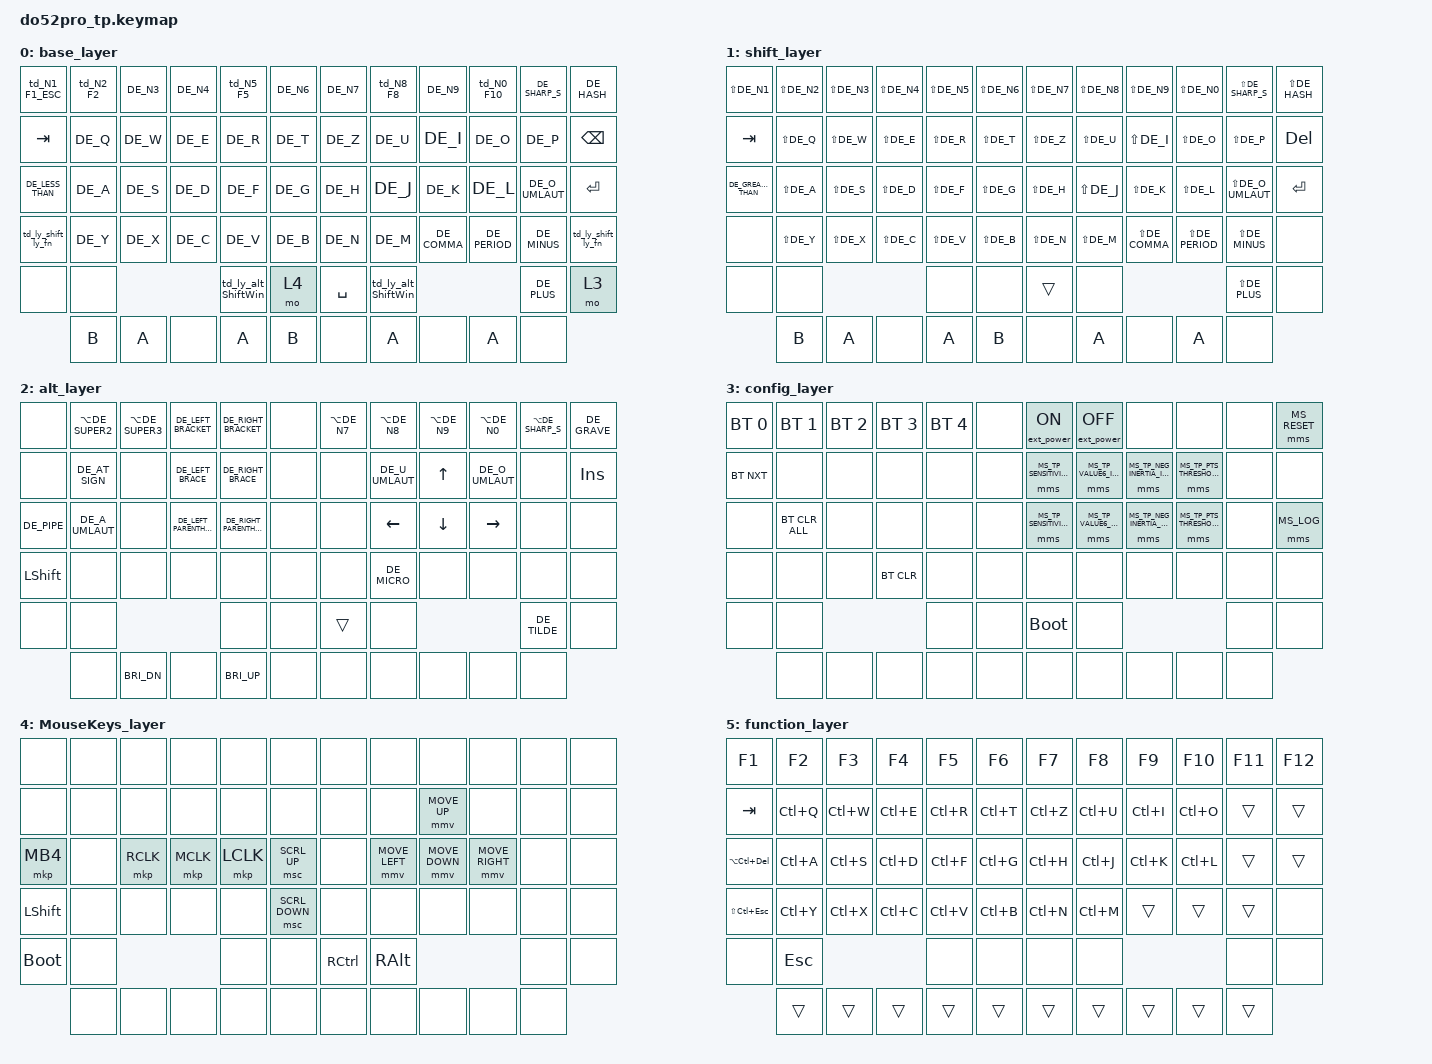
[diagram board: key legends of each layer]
#include <zephyr/dt-bindings/input/input-event-codes.h>

#define BASE 0
#define LOWER 1
#define UPPER 2
#define FUNC 3
#define CONF 4
#define MOUSE_KEYS 5
#define MOUSE_TP 6
#define MOUSE_TP_KEYS 7
#define MOUSE_TP_SET 8

#ifdef HAS_UROB

#define HAS_TRI_STATE
#define HAS_NUM_WORD

#endif

#define HAS_MOUSE_KEYS
#define HAS_MOUSE_TP
#define HAS_TRI_STATE

// ZMK includes
// Personal includes

#include "includes/mouse_keys.dtsi"
#include "includes/mouse_tp.dtsi"
#include "includes/mouse_tp_badjeff_input_listener.dtsi"
#include <dt-bindings/zmk/mouse.h>
#include "keys_de.h"
#include <behaviors.dtsi>
#include <dt-bindings/zmk/bt.h>
#include <dt-bindings/zmk/ext_power.h>
#include <dt-bindings/zmk/keys.h>

/ {
    behaviors {
        td_ly_alt_ShiftWin: td_ly_alt_ShiftWin {
            compatible = "zmk,behavior-tap-dance";
            label = "TD_LY_ALT_SHIFTWIN";
            #binding-cells = <0>;
            bindings = <&mo 2>, <&sk LS(LEFT_WIN)>;

            tapping-term-ms = <250>;
        };

        td_N5_F5: td_N5_F5 {
            compatible = "zmk,behavior-tap-dance";
            label = "TD_N5_F5";
            #binding-cells = <0>;
            bindings = <&kp DE_N5>, <&kp F5>;

            tapping-term-ms = <250>;
        };

        td_N1_F1_ESC: td_N1_F1_ESC {
            compatible = "zmk,behavior-tap-dance";
            label = "TD_N1_F1_ESC";
            #binding-cells = <0>;
            bindings = <&kp DE_N1>, <&kp F1>, <&kp ESCAPE>;

            tapping-term-ms = <250>;
        };

        td_N2_F2: td_N2_F2 {
            compatible = "zmk,behavior-tap-dance";
            label = "TD_N2_F2";
            #binding-cells = <0>;
            bindings = <&kp DE_N2>, <&kp F2>;

            tapping-term-ms = <250>;
        };

        td_N8_F8: td_N8_F8 {
            compatible = "zmk,behavior-tap-dance";
            label = "TD_N8_F8";
            #binding-cells = <0>;
            bindings = <&kp DE_N8>, <&kp F8>;

            tapping-term-ms = <250>;
        };

        td_N0_F10: td_N0_F10 {
            compatible = "zmk,behavior-tap-dance";
            label = "TD_N0_F10";
            #binding-cells = <0>;
            bindings = <&kp DE_N0>, <&kp F10>;

            tapping-term-ms = <250>;
        };

        td_ly_shift_ly_fn: td_ly_shift_ly_fn {
            compatible = "zmk,behavior-tap-dance";
            label = "TD_LY_SHIFT_LY_FN";
            #binding-cells = <0>;
            bindings = <&mo 1>, <&sl 5>;

            tapping-term-ms = <350>;
        };
    };

    keymap {
        compatible = "zmk,keymap";

        base_layer {
            bindings = <
&td_N1_F1_ESC       &td_N2_F2  &kp DE_N3  &kp DE_N4  &td_N5_F5            &kp DE_N6  &kp DE_N7  &td_N8_F8            &kp DE_N9     &td_N0_F10     &kp DE_SHARP_S   &kp DE_HASH
&kp TAB             &kp DE_Q   &kp DE_W   &kp DE_E   &kp DE_R             &kp DE_T   &kp DE_Z   &kp DE_U             &kp DE_I      &kp DE_O       &kp DE_P         &kp BACKSPACE
&kp DE_LESS_THAN    &kp DE_A   &kp DE_S   &kp DE_D   &kp DE_F             &kp DE_G   &kp DE_H   &kp DE_J             &kp DE_K      &kp DE_L       &kp DE_O_UMLAUT  &kp ENTER
&td_ly_shift_ly_fn  &kp DE_Y   &kp DE_X   &kp DE_C   &kp DE_V             &kp DE_B   &kp DE_N   &kp DE_M             &kp DE_COMMA  &kp DE_PERIOD  &kp DE_MINUS     &td_ly_shift_ly_fn
&none               &none                            &td_ly_alt_ShiftWin  &mo 4      &kp SPACE  &td_ly_alt_ShiftWin                               &kp DE_PLUS      &mo 3
                    &kp B      &kp A      &none      &kp A                &kp B      &none      &kp A                &none         &kp A          &none
            >;
        };

        shift_layer {
            bindings = <
&kp LS(DE_N1)        &kp LS(DE_N2)  &kp LS(DE_N3)  &kp LS(DE_N4)  &kp LS(DE_N5)  &kp LS(DE_N6)  &kp LS(DE_N7)  &kp LS(DE_N8)  &kp LS(DE_N9)     &kp LS(DE_N0)      &kp LS(DE_SHARP_S)   &kp LS(DE_HASH)
&kp TAB              &kp LS(DE_Q)   &kp LS(DE_W)   &kp LS(DE_E)   &kp LS(DE_R)   &kp LS(DE_T)   &kp LS(DE_Z)   &kp LS(DE_U)   &kp LS(DE_I)      &kp LS(DE_O)       &kp LS(DE_P)         &kp DELETE
&kp DE_GREATER_THAN  &kp LS(DE_A)   &kp LS(DE_S)   &kp LS(DE_D)   &kp LS(DE_F)   &kp LS(DE_G)   &kp LS(DE_H)   &kp LS(DE_J)   &kp LS(DE_K)      &kp LS(DE_L)       &kp LS(DE_O_UMLAUT)  &kp ENTER
&none                &kp LS(DE_Y)   &kp LS(DE_X)   &kp LS(DE_C)   &kp LS(DE_V)   &kp LS(DE_B)   &kp LS(DE_N)   &kp LS(DE_M)   &kp LS(DE_COMMA)  &kp LS(DE_PERIOD)  &kp LS(DE_MINUS)     &none
&none                &none                                        &none          &none          &trans         &none                                               &kp LS(DE_PLUS)      &none
                     &kp B          &kp A          &none          &kp A          &kp B          &none          &kp A          &none             &kp A              &none
            >;
        };

        alt_layer {
            bindings = <
&none           &kp LA(DE_SUPER2)  &kp LA(DE_SUPER3)  &kp DE_LEFT_BRACKET      &kp DE_RIGHT_BRACKET      &none  &kp LA(DE_N7)  &kp LA(DE_N8)    &kp LA(DE_N9)   &kp LA(DE_N0)    &kp LA(DE_SHARP_S)  &kp DE_GRAVE
&none           &kp DE_AT_SIGN     &none              &kp DE_LEFT_BRACE        &kp DE_RIGHT_BRACE        &none  &none          &kp DE_U_UMLAUT  &kp UP_ARROW    &kp DE_O_UMLAUT  &none               &kp INS
&kp DE_PIPE     &kp DE_A_UMLAUT    &none              &kp DE_LEFT_PARENTHESIS  &kp DE_RIGHT_PARENTHESIS  &none  &none          &kp LEFT_ARROW   &kp DOWN_ARROW  &kp RIGHT_ARROW  &none               &none
&kp LEFT_SHIFT  &none              &none              &none                    &none                     &none  &none          &kp DE_MICRO     &none           &none            &none               &none
&none           &none                                                          &none                     &none  &trans         &none                                             &kp DE_TILDE        &none
                &none              &kp C_BRI_DN       &none                    &kp C_BRI_UP              &none  &none          &none            &none           &none            &none
            >;
        };

        config_layer {
            bindings = <
&bt BT_SEL 0  &bt BT_SEL 1    &bt BT_SEL 2  &bt BT_SEL 3  &bt BT_SEL 4  &none  &ext_power EP_ON             &ext_power EP_OFF       &none                        &none                          &none  &mms MS_RESET
&bt BT_NXT    &none           &none         &none         &none         &none  &mms MS_TP_SENSITIVITY_INCR  &mms MS_TP_VALUE6_INCR  &mms MS_TP_NEG_INERTIA_INCR  &mms MS_TP_PTS_THRESHOLD_INCR  &none  &none
&none         &bt BT_CLR_ALL  &none         &none         &none         &none  &mms MS_TP_SENSITIVITY_DECR  &mms MS_TP_VALUE6_DECR  &mms MS_TP_NEG_INERTIA_DECR  &mms MS_TP_PTS_THRESHOLD_DECR  &none  &mms MS_LOG
&none         &none           &none         &bt BT_CLR    &none         &none  &none                        &none                   &none                        &none                          &none  &none
&none         &none                                       &none         &none  &bootloader                  &none                                                                               &none  &none
              &none           &none         &none         &none         &none  &none                        &none                   &none                        &none                          &none
            >;
        };

        MouseKeys_layer {
            bindings = <
&none           &none  &none      &none      &none      &none           &none      &none           &none           &none            &none  &none
&none           &none  &none      &none      &none      &none           &none      &none           &mmv MOVE_UP    &none            &none  &none
&mkp MB4        &none  &mkp RCLK  &mkp MCLK  &mkp LCLK  &msc SCRL_UP    &none      &mmv MOVE_LEFT  &mmv MOVE_DOWN  &mmv MOVE_RIGHT  &none  &none
&kp LEFT_SHIFT  &none  &none      &none      &none      &msc SCRL_DOWN  &none      &none           &none           &none            &none  &none
&bootloader     &none                        &none      &none           &kp RCTRL  &kp RIGHT_ALT                                    &none  &none
                &none  &none      &none      &none      &none           &none      &none           &none           &none            &none
            >;
        };

        function_layer {
            bindings = <
&kp F1              &kp F2      &kp F3     &kp F4     &kp F5     &kp F6     &kp F7     &kp F8     &kp F9     &kp F10    &kp F11  &kp F12
&kp TAB             &kp LC(Q)   &kp LC(W)  &kp LC(E)  &kp LC(R)  &kp LC(T)  &kp LC(Z)  &kp LC(U)  &kp LC(I)  &kp LC(O)  &trans   &trans
&kp LA(LC(DELETE))  &kp LC(A)   &kp LC(S)  &kp LC(D)  &kp LC(F)  &kp LC(G)  &kp LC(H)  &kp LC(J)  &kp LC(K)  &kp LC(L)  &trans   &trans
&kp LS(LC(ESCAPE))  &kp LC(Y)   &kp LC(X)  &kp LC(C)  &kp LC(V)  &kp LC(B)  &kp LC(N)  &kp LC(M)  &trans     &trans     &trans   &none
&none               &kp ESCAPE                        &none      &none      &none      &none                            &none    &none
                    &trans      &trans     &trans     &trans     &trans     &trans     &trans     &trans     &trans     &trans
            >;
        };
    };

    conditional_layers { compatible = "zmk,conditional-layers"; };
};
